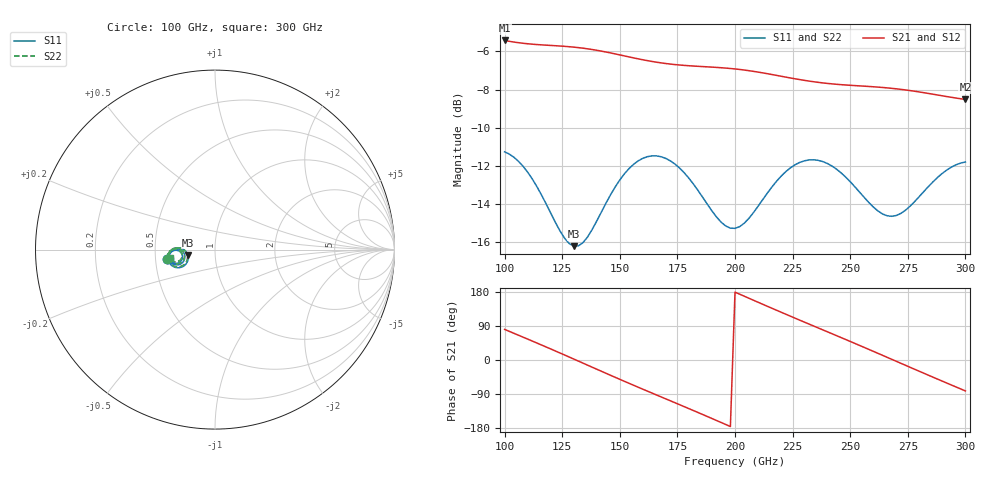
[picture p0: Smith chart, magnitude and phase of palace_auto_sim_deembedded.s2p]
! Created with skrf 1.11.0 (http://scikit-rf.org).
# GHz S DB R 50.0
!freq dBS11 angS11 dBS21 angS21 dBS12 angS12 dBS22 angS22
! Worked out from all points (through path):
!   101 points, 100 GHz to 300 GHz, reference 50 ohm
!   highest |S21| = -5.42 dB at 100 GHz (marker M1); lowest = -8.5 dB at 300 GHz (marker M2)
!   group delay of S21, straight-line fit = 7.26 ps
!   lowest |S11| = -16.2 dB at 130 GHz (marker M3), VSWR 1.37, Z = 36.8 - j2.2 ohm
!   |S11| at or under -10 dB: start of sweep to end of sweep
!   |S22| runs from -16.0 to -11.2 dB; largest |S21 - S12| = 5.3e-14
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100  -11.27 -168.4  -5.42 80.7  -5.42 80.7  -11.24 -168.7
108  -12.03 -177.5  -5.57 60.3  -5.57 60.3  -11.98 -177.8
116  -13.53 177.4  -5.65 39.7  -5.65 39.7  -13.44 177.2
130  -16.23 -169.1  -5.77 2.6  -5.77 2.6  -16.05 -169.9
134  -16.04 -161.4  -5.83 -8.2  -5.83 -8.2  -15.88 -162.6
142  -14.43 -152.6  -5.98 -29.7  -5.98 -29.7  -14.34 -154.1
152  -12.42 -155.3  -6.23 -56.2  -6.23 -56.2  -12.38 -156.8
160  -11.61 -162.5  -6.44 -77.0  -6.44 -77.0  -11.59 -163.9
168  -11.53 -170.7  -6.60 -97.6  -6.60 -97.6  -11.51 -172.0
176  -12.13 -177.6  -6.71 -118.1  -6.71 -118.1  -12.11 -178.9
186  -13.66 178.9  -6.79 -143.9  -6.79 -143.9  -13.63 177.7
200  -15.29 -168.1  -6.92 179.1  -6.92 179.1  -15.24 -169.5
208  -14.46 -159.2  -7.04 157.8  -7.04 157.8  -14.43 -160.8
218  -12.82 -158.1  -7.26 131.4  -7.26 131.4  -12.80 -159.7
226  -11.95 -162.7  -7.43 110.6  -7.43 110.6  -11.94 -164.4
234  -11.69 -169.1  -7.59 90.0  -7.59 90.0  -11.68 -170.8
244  -12.18 -176.3  -7.72 64.4  -7.72 64.4  -12.16 -178.0
254  -13.38 -179.0  -7.81 38.6  -7.81 38.6  -13.35 179.3
268  -14.66 -169.3  -7.94 1.9  -7.94 1.9  -14.62 -171.3
276  -14.12 -162.2  -8.05 -19.3  -8.05 -19.3  -14.10 -164.3
286  -12.84 -160.3  -8.25 -45.5  -8.25 -45.5  -12.83 -162.5
300  -11.80 -167.4  -8.52 -81.6  -8.52 -81.6  -11.81 -169.6
